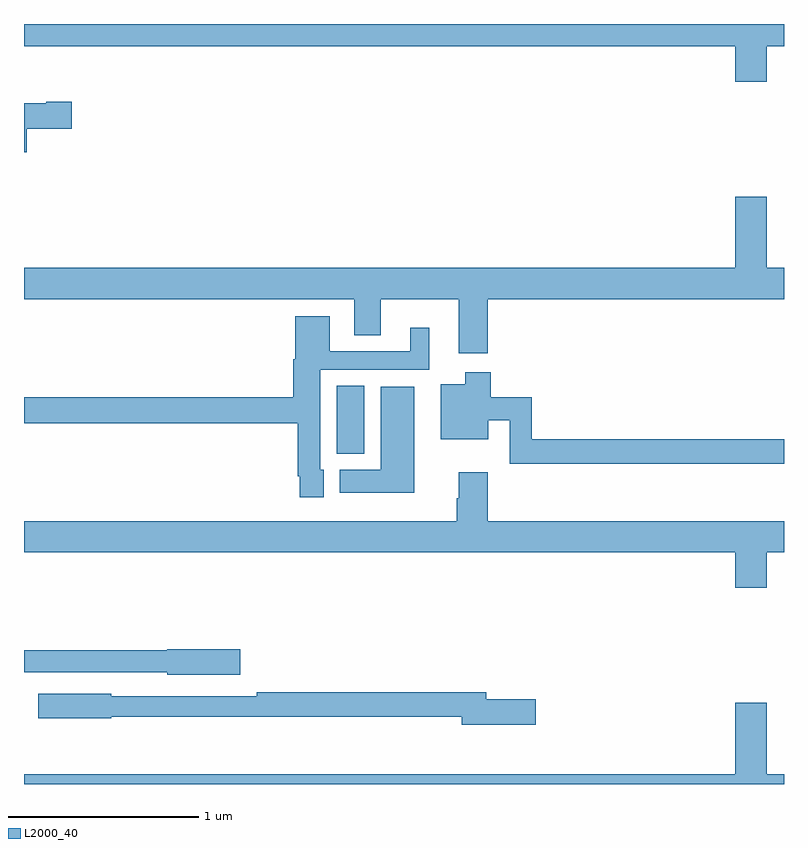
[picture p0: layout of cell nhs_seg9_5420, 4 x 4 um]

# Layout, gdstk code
import gdstk
lib = gdstk.Library(unit=1e-6, precision=1e-09)
def R(c, l, rs):  # rectangles x0, y0, x1, y1
    for r in rs: c.add(gdstk.rectangle(r[:2], r[2:], *l))
def P(c, l, *ps):  # polygons
    for p in ps: c.add(gdstk.Polygon(p, *l))
L2000_40 = (2000, 40)

nhs_seg9_5420 = lib.new_cell('nhs_seg9_5420')
R(nhs_seg9_5420, L2000_40, [(426.647,1230.239,426.79,1230.596)])
P(nhs_seg9_5420, L2000_40, [(428.908,1232.384),(429,1232.384),(429,1232.5),(425,1232.5),(425,1232.384),(428.744,1232.384),(428.744,1232.196),(428.908,1232.196)],
  [(425.015,1231.949),(425.251,1231.949),(425.251,1232.091),(425.118,1232.091),(425.118,1232.083),(425,1232.083),(425,1231.824),(425.015,1231.824)],
  [(427.442,1231.052),(429,1231.052),(429,1231.216),(428.908,1231.216),(428.908,1231.591),(428.744,1231.591),(428.744,1231.216),(425,1231.216),(425,1231.052),(426.737,1231.052),(426.737,1230.862),(426.877,1230.862),(426.877,1231.052),(427.289,1231.052),(427.289,1230.768),(427.442,1230.768)],
  [(426.577,1230.153),(426.558,1230.153),(426.558,1230.681),(427.132,1230.681),(427.132,1230.901),(427.034,1230.901),(427.034,1230.777),(426.61,1230.777),(426.61,1230.961),(426.428,1230.961),(426.428,1230.735),(426.416,1230.735),(426.416,1230.536),(425,1230.536),(425,1230.4),(426.442,1230.4),(426.442,1230.121),(426.45,1230.121),(426.45,1230.009),(426.577,1230.009)],
  [(429,1230.314),(427.673,1230.314),(427.673,1230.536),(427.457,1230.536),(427.457,1230.667),(427.322,1230.667),(427.322,1230.604),(427.193,1230.604),(427.193,1230.314),(427.444,1230.314),(427.444,1230.415),(427.557,1230.415),(427.557,1230.186),(429,1230.186)],
  [(427.054,1230.592),(426.878,1230.592),(426.878,1230.154),(426.662,1230.154),(426.662,1230.032),(427.054,1230.032)],
  [(428.908,1229.72),(429,1229.72),(429,1229.884),(427.442,1229.884),(427.442,1230.142),(427.289,1230.142),(427.289,1230.005),(427.277,1230.005),(427.277,1229.884),(425,1229.884),(425,1229.72),(428.744,1229.72),(428.744,1229.532),(428.908,1229.532)],
  [(426.139,1229.21),(425.754,1229.21),(425.754,1229.204),(425,1229.204),(425,1229.088),(425.754,1229.088),(425.754,1229.075),(426.139,1229.075)],
  [(427.693,1228.946),(427.432,1228.946),(427.432,1228.982),(426.226,1228.982),(426.226,1228.962),(425.46,1228.962),(425.46,1228.975),(425.076,1228.975),(425.076,1228.846),(425.46,1228.846),(425.46,1228.854),(427.304,1228.854),(427.304,1228.811),(427.693,1228.811)],
  [(429,1228.552),(428.908,1228.552),(428.908,1228.927),(428.744,1228.927),(428.744,1228.552),(425,1228.552),(425,1228.5),(429,1228.5)])

lib.write_gds('nhs_seg9_5420.gds')
